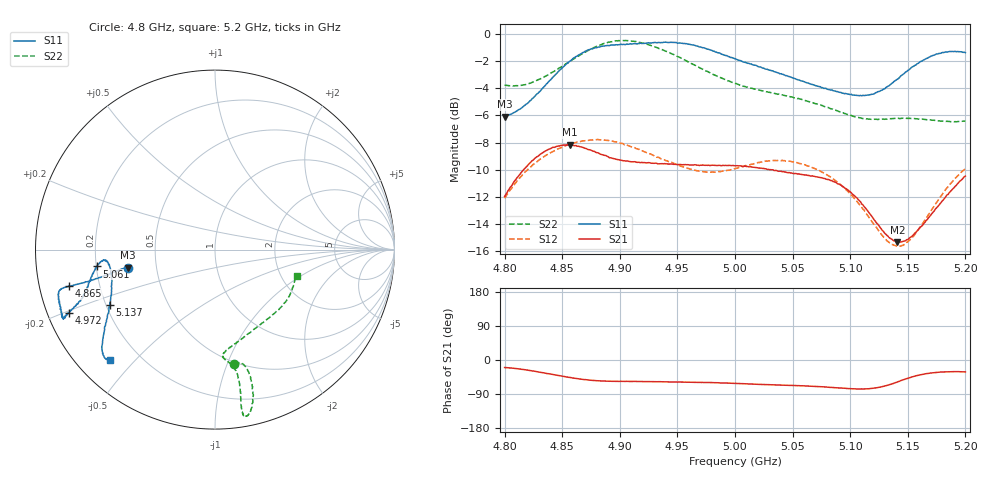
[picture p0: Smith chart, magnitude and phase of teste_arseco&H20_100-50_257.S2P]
! Network Analyzer HP8722D
! Hewlett-Packard
! Data name: Linha & Wilkinson
! Saver's name: Rodrigo Anjos
! Comments: Teste da utilização de aquisição
! continua pelo VNA HP8722D
! Time and date: 6/5/2025 14:42
!  Frequency  S11  S21  S12  S22
# HZ  S  MA R 50
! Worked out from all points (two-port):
!   401 points, 4.8 GHz to 5.2 GHz, reference 50 ohm
!   highest |S21| = -8.16 dB at 4.857 GHz (marker M1); lowest = -15.3 dB at 5.141 GHz (marker M2)
!   |S21| within 3 dB of the highest: 4.806 GHz to 5.093 GHz (286.3 MHz wide, 5.79 % of centre); 5.191853 GHz to end of sweep
!   lowest |S11| = -6.1 dB at 4.8 GHz (marker M3), VSWR 2.97, Z = 17 - j4.57 ohm
!   |S11| at or under -10 dB: nowhere
!   |S22| runs from -6.5 to -0.5 dB; largest |S21 - S12| = 0.62
!   S11 on the Smith chart (normalised r, x): 4.8 GHz: 0.34, -0.09; 4.865 GHz: 0.09, -0.12; 4.972 GHz: 0.06, -0.21; 5.061 GHz: 0.20, -0.07; 5.137 GHz: 0.22, -0.23; 5.2 GHz: 0.09, -0.43
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4.8e9  0.4963 -168.2  0.2523 -19.8  0.2488 -140.9  0.6476 -80.4
4.828e9  0.6004 -167.1  0.3531 -30.7  0.3385 -145.0  0.6744 -75.3
4.857e9  0.795 -165.9  0.3907 -46.4  0.3931 -150.3  0.7928 -74.6
4.865e9  0.8388 -166.1  0.3848 -50.0  0.4011 -151.7  0.8318 -75.2
4.867e9  0.8483 -165.9  0.3833 -50.9  0.4028 -152.0  0.843 -75.4
4.883e9  0.8966 -165.2  0.3611 -55.1  0.4077 -154.8  0.9087 -77.1
4.9e9  0.9128 -162.7  0.3437 -56.3  0.3964 -156.6  0.9431 -79.1
4.934e9  0.9291 -156.5  0.3327 -57.5  0.351 -155.7  0.8824 -80.5
4.972e9  0.8879 -156.6  0.3293 -59.1  0.3115 -146.2  0.7404 -79.7
5e9  0.809 -159.1  0.3271 -61.7  0.3195 -137.2  0.6569 -81.3
5.036e9  0.7219 -165.6  0.3144 -66.0  0.3419 -134.5  0.6015 -85.7
5.061e9  0.6644 -171.9  0.3028 -68.5  0.3297 -136.3  0.5684 -84.0
5.067e9  0.6512 -173.1  0.3005 -69.2  0.3226 -136.7  0.5585 -82.7
5.087e9  0.6162 -174.4  0.2848 -73.2  0.2891 -138.6  0.5244 -74.8
5.101e9  0.5993 -172.1  0.2601 -75.7  0.255 -138.8  0.5009 -66.6
5.116e9  0.5954 -165.4  0.2208 -75.9  0.2124 -135.5  0.4854 -55.8
5.134e9  0.6453 -154.3  0.178 -65.2  0.1707 -120.7  0.488 -43.3
5.137e9  0.6609 -152.4  0.1745 -62.4  0.168 -116.9  0.4879 -41.4
5.141e9  0.6809 -150.3  0.1715 -57.9  0.1657 -111.8  0.4886 -39.1
5.153e9  0.7506 -145.0  0.1794 -45.4  0.177 -96.2  0.4882 -32.8
5.172e9  0.8324 -139.2  0.2209 -33.7  0.2296 -81.1  0.4809 -24.6
5.2e9  0.8522 -133.6  0.2998 -31.4  0.3189 -76.9  0.478 -17.7
